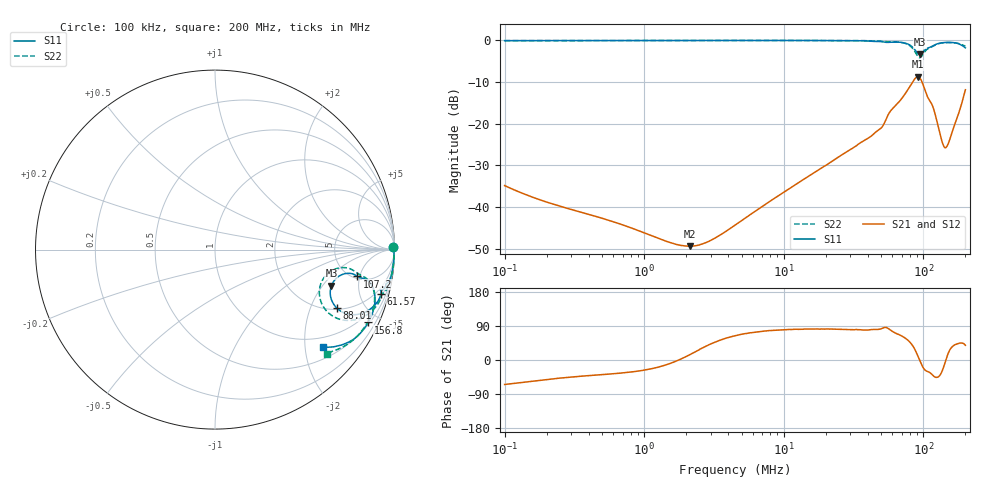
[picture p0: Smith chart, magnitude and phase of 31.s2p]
#  HZ  S  RI  R  50.00
! Rohde & Schwarz Vector Network Analyzer
! Rohde-Schwarz,ZNLE6-2Port,1323001256200024,1.71.1.10-23.02.1.238
! Created: UTC 4/7/2025, 5:29:59 AM
! freq[Hz]  re:S11  im:S11  re:S21  im:S21  re:S12  im:S12  re:S22  im:S22
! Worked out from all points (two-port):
!   1001 points, 100 kHz to 200 MHz, reference 50 ohm
!   highest |S21| = -8.73 dB at 91.42 MHz (marker M1); lowest = -49.4 dB at 2.14 MHz (marker M2)
!   |S21| within 3 dB of the highest: 77.77 MHz to 102.1 MHz (24.34 MHz wide, 27.1 % of centre)
!   lowest |S11| = -3.4 dB at 94.24 MHz (marker M3), VSWR 5.24, Z = 164 - j123 ohm
!   |S11| at or under -10 dB: nowhere
!   |S22| runs from -4.2 to 0.0 dB; largest |S21 - S12| = 0.0097
!   S11 on the Smith chart (normalised r, x): 100 kHz: open; 61.57 MHz: 1.25, -7.38; 88.01 MHz: 2.09, -3.10; 107.2 MHz: 5.35, -4.60; 156.8 MHz: 0.57, -4.36; 200 MHz: 0.75, -2.40
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100000  0.9924 0.016  0.00773 -0.0163  0.00775 -0.0163  0.9925 0.016
355854.1  0.9937 0.00489  0.00632 -0.00583  0.00634 -0.00584  0.9938 0.00487
1266322  0.9961 -0.00186  0.00397 -0.00134  0.00398 -0.00134  0.9961 -0.00204
2139514  0.9967 -0.00628  0.00327 0.000861  0.00327 0.000863  0.9967 -0.00646
2944139  0.9971 -0.0103  0.00294 0.00257  0.00298 0.00251  0.9972 -0.0104
4472136  0.9971 -0.0172  0.00265 0.00543  0.00271 0.00538  0.9978 -0.017
1.591428e7  0.9952 -0.0653  0.00361 0.0246  0.00386 0.0245  0.9955 -0.067
4.210356e7  0.9577 -0.1878  0.0121 0.0694  0.0147 0.0689  0.972 -0.1892
5.052933e7  0.9375 -0.2212  0.0107 0.0903  0.0129 0.0895  0.9471 -0.2344
5.663162e7  0.9214 -0.224  0.0187 0.1315  0.0222 0.1303  0.9285 -0.2511
6.157017e7  0.9244 -0.2478  0.046 0.1507  0.0474 0.1499  0.9203 -0.2792
7.502347e7  0.8574 -0.3367  0.1305 0.1965  0.1366 0.1925  0.835 -0.3707
8.800731e7  0.6772 -0.3241  0.3243 0.1431  0.3285 0.1346  0.6217 -0.3424
9.141636e7  0.6439 -0.2615  0.3603 0.0639  0.3627 0.0548  0.5835 -0.2646
9.423843e7  0.6488 -0.2012  0.3545 -0.0113  0.355 -0.02  0.5896 -0.1899
1.001466e8  0.7264 -0.1336  0.265 -0.1044  0.2633 -0.1108  0.6865 -0.1032
1.072372e8  0.7935 -0.1497  0.1803 -0.1052  0.1783 -0.1092  0.7797 -0.1221
1.183747e8  0.8507 -0.1724  0.1109 -0.1016  0.1092 -0.1033  0.8458 -0.1623
1.399206e8  0.8887 -0.3095  0.0512 -0.0163  0.0502 -0.0171  0.8867 -0.3034
1.475668e8  0.8771 -0.3545  0.0528 0.00861  0.0523 0.0075  0.8749 -0.3478
1.568184e8  0.8537 -0.4059  0.0604 0.0351  0.0606 0.0331  0.8543 -0.3968
2e8  0.6028 -0.545  0.1989 0.1602  0.2054 0.1555  0.6246 -0.5803
